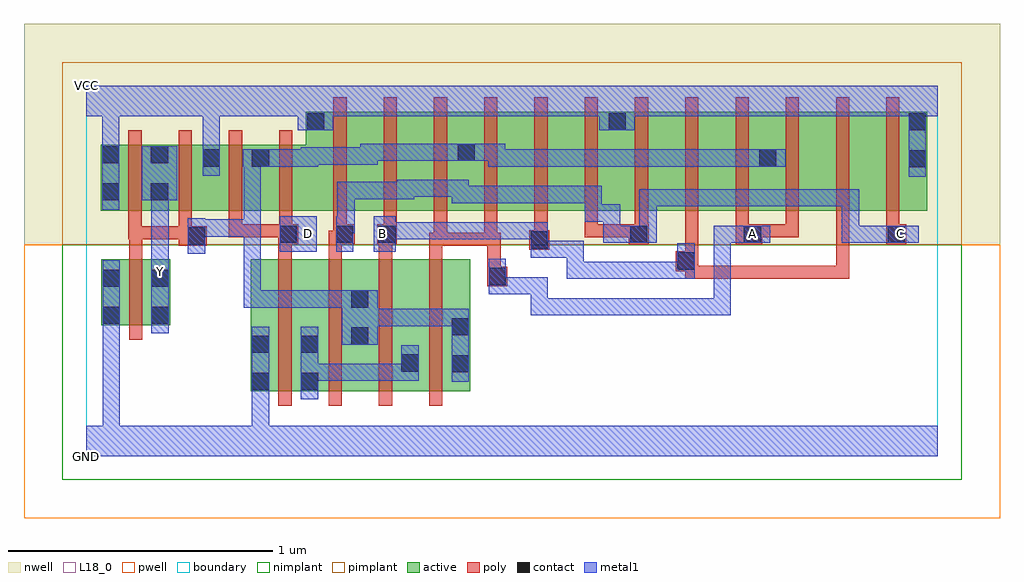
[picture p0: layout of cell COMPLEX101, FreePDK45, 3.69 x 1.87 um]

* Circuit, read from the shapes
.subckt COMPLEX101 A B C D GND VCC Y
M1 Y n1 GND VSUBS nfet w=0.25u l=0.05u
M2 n2 D GND VSUBS nfet w=0.5u l=0.05u
M3 n1 C n2 VSUBS nfet w=0.5u l=0.05u
M4 n2 B n1 VSUBS nfet w=0.5u l=0.05u
M5 n1 A n2 VSUBS nfet w=0.5u l=0.05u
M6 Y n1 VCC n3 pfet w=0.25u l=0.05u m=2
M7 n1 D VCC n3 pfet w=0.25u l=0.05u m=2
M8 n4 C VCC n3 pfet w=0.375u l=0.05u
M9 n5 B n4 n3 pfet w=0.375u l=0.05u
M10 n1 A n5 n3 pfet w=0.375u l=0.05u
M11 n6 A n1 n3 pfet w=0.375u l=0.05u
M12 n7 B n6 n3 pfet w=0.375u l=0.05u
M13 VCC C n7 n3 pfet w=0.375u l=0.05u
M14 n8 C VCC n3 pfet w=0.375u l=0.05u
M15 n9 B n8 n3 pfet w=0.375u l=0.05u
M16 n1 A n9 n3 pfet w=0.375u l=0.05u
M17 n10 A n1 n3 pfet w=0.375u l=0.05u
M18 n11 B n10 n3 pfet w=0.375u l=0.05u
M19 VCC C n11 n3 pfet w=0.375u l=0.05u
.ends

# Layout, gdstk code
import gdstk
lib = gdstk.Library(unit=1e-6, precision=1e-09)
def R(c, l, rs):  # rectangles x0, y0, x1, y1
    for r in rs: c.add(gdstk.rectangle(r[:2], r[2:], *l))
def A(c, l, x, y, w, h, nx, ny, dx, dy):  # array of equal rectangles
    R(c, l, [(x+i*dx, y+j*dy, x+i*dx+w, y+j*dy+h) for i in range(nx) for j in range(ny)])
active = (1, 0)
pwell = (2, 0)
nwell = (3, 0)
nimplant = (4, 0)
pimplant = (5, 0)
poly = (9, 0)
contact = (10, 0)
metal1 = (11, 0)
L18_0 = (18, 0)
boundary = (235, 0)

complex101 = lib.new_cell('COMPLEX101')
A(complex101, active, 0.807, 0.245, 0.265, 0.5, 3, 1, 0.19, 0)
A(complex101, active, 0.83, 0.927, 0.225, 0.375, 4, 1, 0.57, 0)
A(complex101, active, 1.055, 0.927, 0.19, 0.375, 4, 1, 0.57, 0)
A(complex101, active, 1.245, 0.927, 0.23, 0.375, 3, 1, 0.57, 0)
R(complex101, active, [(0.622,0.245,0.697,0.745), (0.622,0.245,0.882,0.745), (0.807,0.245,0.882,0.592), (0.997,0.245,1.072,0.632), (1.187,0.245,1.262,0.592), (1.377,0.245,1.452,0.745), (0.057,0.495,0.132,0.745), (0.057,0.495,0.317,0.745), (0.242,0.495,0.317,0.745), (0.055,0.927,0.13,1.177), (0.055,0.927,0.315,1.177), (0.24,0.927,0.51,1.177), (0.435,0.927,0.697,1.177), (0.622,0.927,0.697,1.177), (0.622,0.927,0.905,1.177), (2.955,0.927,3.18,1.302), (3.105,0.927,3.18,1.302), (0.435,0.932,0.51,1.177), (1.4,0.932,1.475,1.2), (1.97,0.932,2.045,1.302), (2.54,0.932,2.615,1.2), (0.24,0.962,0.315,1.177), (0.83,1.057,0.905,1.302)])
R(complex101, pwell, [(-0.235,-0.235,3.455,0.8)])
R(complex101, nwell, [(-0.235,0.8,3.455,1.635)])
R(complex101, nimplant, [(-0.09,-0.09,3.31,0.8)])
R(complex101, pimplant, [(-0.09,0.8,3.31,1.49)])
A(complex101, poly, 0.727, 0.19, 0.05, 0.61, 4, 1, 0.19, 0)
A(complex101, poly, 0.727, 0.75, 0.05, 0.102, 3, 1, 0.19, 0)
A(complex101, poly, 0.16, 0.872, 0.05, 0.36, 4, 1, 0.19, 0)
A(complex101, poly, 0.935, 0.872, 0.05, 0.485, 12, 1, 0.19, 0)
R(complex101, poly, [(0.162,0.44,0.212,0.8), (1.517,0.642,1.592,0.717), (1.517,0.667,1.567,0.845), (2.265,0.67,2.447,0.72), (2.265,0.67,2.315,0.75), (2.397,0.67,2.447,0.72), (2.397,0.67,2.447,0.72), (2.397,0.67,2.447,0.72), (2.397,0.67,2.752,0.72), (2.702,0.67,2.752,0.72), (2.702,0.67,2.752,0.72), (2.702,0.67,2.752,0.72), (2.702,0.67,2.885,0.72), (2.835,0.67,2.885,0.922), (2.835,0.67,2.885,0.72), (2.835,0.67,2.885,0.72), (2.835,0.67,2.885,0.72), (2.23,0.7,2.315,0.775), (2.265,0.7,2.315,0.75), (2.265,0.725,2.315,0.775), (2.265,0.725,2.315,0.775), (2.265,0.725,2.315,0.922), (0.162,0.75,0.212,0.87), (1.297,0.75,1.347,0.845), (1.675,0.78,1.75,0.855), (0.35,0.795,0.455,0.87), (1.297,0.795,1.365,0.845), (1.315,0.795,1.365,0.845), (1.315,0.795,1.365,0.845), (1.315,0.795,1.365,0.845), (1.315,0.795,1.365,0.845), (1.315,0.795,1.365,0.922), (1.315,0.795,1.555,0.845), (1.505,0.795,1.555,0.845), (1.505,0.795,1.555,0.845), (1.505,0.795,1.555,0.845), (1.505,0.795,1.555,0.845), (1.505,0.795,1.555,0.922), (1.505,0.795,1.567,0.845), (0.727,0.802,0.802,0.877), (0.917,0.802,0.985,0.852), (0.935,0.802,0.985,0.852), (0.935,0.802,1.015,0.877), (1.1,0.802,1.175,0.877), (2.052,0.802,2.127,0.877), (2.455,0.802,2.557,0.877), (3.025,0.802,3.1,0.877), (1.695,0.805,1.745,0.855), (1.695,0.805,1.745,0.855), (1.695,0.805,1.745,0.922), (0.16,0.82,0.21,0.922), (0.16,0.82,0.212,0.87), (0.162,0.82,0.212,0.87), (0.162,0.82,0.212,0.87), (0.162,0.82,0.4,0.87), (0.35,0.82,0.4,0.87), (0.35,0.82,0.4,0.87), (0.35,0.82,0.4,0.922), (0.54,0.827,0.59,0.922), (0.54,0.827,0.59,0.877), (0.54,0.827,0.78,0.877), (0.73,0.827,0.78,0.922), (0.73,0.827,0.78,0.877), (0.73,0.827,0.78,0.877), (0.73,0.827,0.78,0.877), (0.73,0.827,0.78,0.877), (0.935,0.827,0.985,0.922), (1.125,0.827,1.175,0.922), (1.125,0.827,1.175,0.877), (1.125,0.827,1.175,0.877), (1.885,0.827,1.935,0.922), (1.885,0.827,1.935,0.877), (1.885,0.827,2.102,0.877), (2.052,0.827,2.102,0.877), (2.052,0.827,2.102,0.877), (2.075,0.827,2.125,0.922), (2.455,0.827,2.505,0.922), (2.507,0.827,2.557,0.877), (2.507,0.827,2.557,0.877), (2.507,0.827,2.695,0.877), (2.645,0.827,2.695,0.922), (2.645,0.827,2.695,0.877), (3.025,0.827,3.075,0.922)])
R(complex101, contact, [(0.627,0.25,0.692,0.315), (0.812,0.25,0.877,0.315), (1.382,0.317,1.447,0.382), (1.192,0.32,1.257,0.385), (0.627,0.39,0.692,0.455), (0.812,0.39,0.877,0.455), (1.002,0.422,1.067,0.487), (1.382,0.457,1.447,0.522), (0.062,0.5,0.127,0.565), (0.247,0.5,0.312,0.565), (1.002,0.562,1.067,0.627), (0.062,0.64,0.127,0.705), (0.247,0.64,0.312,0.705), (1.522,0.647,1.587,0.712), (2.235,0.705,2.3,0.77), (1.68,0.785,1.745,0.85), (0.385,0.8,0.45,0.865), (0.732,0.807,0.797,0.872), (0.945,0.807,1.01,0.872), (1.105,0.807,1.17,0.872), (2.057,0.807,2.122,0.872), (2.487,0.807,2.552,0.872), (3.03,0.807,3.095,0.872), (0.06,0.967,0.125,1.032), (0.245,0.967,0.31,1.032), (3.11,1.092,3.175,1.157), (0.44,1.095,0.505,1.16), (0.627,1.095,0.692,1.16), (2.545,1.095,2.61,1.16), (0.06,1.107,0.125,1.172), (0.245,1.107,0.31,1.172), (1.405,1.117,1.47,1.182), (0.835,1.232,0.9,1.297), (1.975,1.232,2.04,1.297), (3.11,1.232,3.175,1.297)])
R(complex101, metal1, [(0,0,3.22,0.115), (0.062,0.05,0.127,0.115), (0.062,0.05,0.127,0.115), (0.062,0.05,0.127,0.53), (0.627,0.05,0.692,0.115), (0.627,0.05,0.692,0.115), (0.627,0.05,0.692,0.28), (0.627,0.215,0.692,0.49), (0.812,0.215,0.877,0.49), (1.382,0.282,1.447,0.557), (0.812,0.285,1.015,0.35), (0.812,0.285,0.877,0.35), (0.812,0.285,0.877,0.35), (0.95,0.285,1.015,0.35), (0.95,0.285,1.257,0.35), (1.192,0.285,1.257,0.35), (1.192,0.285,1.257,0.35), (1.192,0.285,1.257,0.42), (0.967,0.422,1.102,0.627), (0.062,0.465,0.127,0.74), (0.062,0.465,0.127,0.53), (0.062,0.465,0.127,0.53), (0.062,0.465,0.127,0.53), (0.062,0.465,0.127,0.53), (0.247,0.465,0.312,0.74), (1.037,0.492,1.24,0.557), (1.175,0.492,1.24,0.557), (1.175,0.492,1.24,0.557), (1.175,0.492,1.24,0.557), (1.175,0.492,1.447,0.557), (1.382,0.492,1.447,0.557), (1.382,0.492,1.447,0.557), (1.68,0.532,1.812,0.597), (1.68,0.532,1.745,0.677), (1.747,0.532,1.95,0.597), (1.747,0.532,1.812,0.597), (1.885,0.532,1.95,0.597), (1.885,0.532,1.95,0.597), (1.885,0.532,1.95,0.597), (1.885,0.532,2.162,0.597), (2.097,0.532,2.3,0.597), (2.097,0.532,2.162,0.597), (2.097,0.532,2.162,0.597), (2.097,0.532,2.162,0.597), (2.235,0.532,2.3,0.597), (2.235,0.532,2.437,0.597), (2.372,0.532,2.437,0.597), (2.372,0.532,2.437,0.597), (2.372,0.532,2.437,0.597), (2.372,0.532,2.437,0.872), (0.595,0.562,0.66,0.627), (0.595,0.562,0.727,0.627), (0.595,0.562,0.66,0.895), (0.662,0.562,0.727,0.627), (0.662,0.562,0.877,0.627), (0.812,0.562,0.877,0.627), (0.812,0.562,0.877,0.627), (0.812,0.562,0.877,0.627), (0.812,0.562,1.032,0.627), (1.522,0.612,1.587,0.747), (1.522,0.612,1.675,0.677), (1.61,0.612,1.675,0.677), (1.61,0.612,1.675,0.677), (1.61,0.612,1.675,0.677), (1.61,0.612,1.745,0.677), (0.247,0.632,0.312,0.767), (1.817,0.67,2.02,0.735), (1.817,0.67,1.882,0.815), (1.955,0.67,2.02,0.735), (1.955,0.67,2.157,0.735), (2.092,0.67,2.157,0.735), (2.092,0.67,2.157,0.735), (2.092,0.67,2.157,0.735), (2.092,0.67,2.3,0.735), (2.235,0.67,2.3,0.805), (0.247,0.675,0.312,0.74), (0.247,0.702,0.312,1.032), (1.68,0.75,1.745,0.885), (1.68,0.75,1.812,0.815), (1.747,0.75,1.812,0.815), (1.747,0.75,1.882,0.815), (0.385,0.765,0.45,0.9), (0.732,0.772,0.872,0.907), (0.945,0.772,1.01,0.907), (1.087,0.772,1.17,0.907), (1.955,0.807,2.087,0.872), (1.955,0.807,2.02,0.952), (2.022,0.807,2.157,0.872), (2.092,0.807,2.157,1.01), (2.092,0.807,2.157,0.872), (2.092,0.807,2.157,0.872), (2.372,0.807,2.437,0.872), (2.372,0.807,2.517,0.872), (2.452,0.807,2.587,0.872), (2.857,0.807,3.06,0.872), (2.857,0.807,2.922,1.01), (2.857,0.807,2.922,0.872), (2.995,0.807,3.147,0.872), (1.105,0.82,1.24,0.885), (1.175,0.82,1.24,0.885), (1.175,0.82,1.447,0.885), (1.382,0.82,1.585,0.885), (1.382,0.82,1.447,0.885), (1.382,0.82,1.447,0.885), (1.382,0.82,1.447,0.885), (1.52,0.82,1.585,0.885), (1.52,0.82,1.675,0.885), (1.61,0.82,1.675,0.885), (1.61,0.82,1.745,0.885), (0.385,0.83,0.45,0.895), (0.385,0.83,0.45,0.895), (0.385,0.83,0.59,0.895), (0.525,0.83,0.59,0.895), (0.525,0.83,0.66,0.895), (0.595,0.83,0.66,0.895), (0.595,0.83,0.66,0.895), (0.595,0.83,0.66,0.895), (0.595,0.83,0.66,1.16), (0.945,0.842,1.015,0.907), (0.95,0.842,1.015,1.037), (1.885,0.887,2.02,0.952), (1.885,0.887,1.95,1.022), (0.06,0.932,0.125,1.207), (2.092,0.945,2.157,1.01), (2.092,0.945,2.38,1.01), (2.315,0.945,2.38,1.01), (2.315,0.945,2.38,1.01), (2.315,0.945,2.38,1.01), (2.315,0.945,2.575,1.01), (2.51,0.945,2.575,1.01), (2.51,0.945,2.575,1.01), (2.51,0.945,2.575,1.01), (2.51,0.945,2.725,1.01), (2.66,0.945,2.725,1.01), (2.66,0.945,2.725,1.01), (2.66,0.945,2.725,1.01), (2.66,0.945,2.922,1.01), (2.857,0.945,2.922,1.01), (2.857,0.945,2.922,1.01), (2.857,0.945,2.922,1.01), (1.382,0.957,1.585,1.022), (1.382,0.957,1.447,1.022), (1.382,0.957,1.447,1.022), (1.382,0.957,1.447,1.045), (1.52,0.957,1.585,1.022), (1.52,0.957,1.675,1.022), (1.61,0.957,1.675,1.022), (1.61,0.957,1.745,1.022), (1.68,0.957,1.745,1.022), (1.68,0.957,1.812,1.022), (1.747,0.957,1.95,1.022), (1.747,0.957,1.812,1.022), (0.21,0.967,0.345,1.172), (0.247,0.967,0.312,1.032), (0.247,0.967,0.312,1.032), (0.95,0.972,1.24,1.037), (1.175,0.972,1.24,1.045), (1.175,0.98,1.24,1.045), (1.175,0.98,1.24,1.045), (1.175,0.98,1.447,1.045), (3.11,1.057,3.175,1.332), (0.44,1.06,0.505,1.195), (0.592,1.095,0.727,1.16), (0.662,1.095,0.727,1.16), (0.662,1.095,0.727,1.16), (0.662,1.095,0.877,1.16), (0.812,1.095,0.877,1.16), (0.812,1.095,0.877,1.16), (0.812,1.095,0.877,1.167), (1.52,1.095,1.675,1.16), (1.52,1.095,1.585,1.182), (1.61,1.095,1.675,1.16), (1.61,1.095,1.745,1.16), (1.68,1.095,1.745,1.16), (1.68,1.095,1.812,1.16), (1.747,1.095,1.95,1.16), (1.747,1.095,1.812,1.16), (1.885,1.095,1.95,1.16), (1.885,1.095,1.95,1.16), (1.885,1.095,1.95,1.16), (1.885,1.095,1.95,1.16), (1.885,1.095,1.95,1.16), (1.885,1.095,2.157,1.16), (2.092,1.095,2.157,1.16), (2.092,1.095,2.157,1.16), (2.092,1.095,2.157,1.16), (2.092,1.095,2.38,1.16), (2.315,1.095,2.38,1.16), (2.315,1.095,2.38,1.16), (2.315,1.095,2.38,1.16), (2.315,1.095,2.575,1.16), (2.51,1.095,2.575,1.16), (2.51,1.095,2.575,1.16), (2.51,1.095,2.645,1.16), (0.812,1.102,1.102,1.167), (1.037,1.102,1.102,1.182), (1.037,1.117,1.24,1.182), (1.175,1.117,1.24,1.182), (1.175,1.117,1.24,1.182), (1.175,1.117,1.24,1.182), (1.175,1.117,1.435,1.182), (1.37,1.117,1.435,1.182), (1.37,1.117,1.435,1.182), (1.37,1.117,1.505,1.182), (1.44,1.117,1.585,1.182), (0.44,1.13,0.505,1.195), (0.44,1.13,0.505,1.195), (0.44,1.13,0.505,1.35), (0.06,1.142,0.125,1.207), (0.06,1.142,0.125,1.207), (0.06,1.142,0.125,1.35), (0.8,1.232,0.935,1.297), (0.87,1.232,0.935,1.35), (1.94,1.232,2.075,1.297), (2.01,1.232,2.075,1.35), (3.11,1.267,3.175,1.35), (0,1.285,3.22,1.4)])
R(complex101, L18_0, [(0,0,3.22,0.115), (0.062,0.05,0.127,0.115), (0.062,0.05,0.127,0.115), (0.062,0.05,0.127,0.53), (0.627,0.05,0.692,0.115), (0.627,0.05,0.692,0.115), (0.627,0.05,0.692,0.28), (0.627,0.215,0.692,0.49), (0.062,0.465,0.127,0.53), (0.062,0.465,0.127,0.53), (0.062,0.465,0.127,0.53), (0.062,0.465,0.127,0.53), (0.062,0.465,0.127,0.74), (0.247,0.465,0.312,0.74), (1.68,0.532,1.745,0.677), (1.68,0.532,1.812,0.597), (1.747,0.532,1.812,0.597), (1.747,0.532,1.95,0.597), (1.885,0.532,1.95,0.597), (1.885,0.532,1.95,0.597), (1.885,0.532,1.95,0.597), (1.885,0.532,2.162,0.597), (2.097,0.532,2.162,0.597), (2.097,0.532,2.162,0.597), (2.097,0.532,2.162,0.597), (2.097,0.532,2.3,0.597), (2.235,0.532,2.3,0.597), (2.235,0.532,2.437,0.597), (2.372,0.532,2.437,0.597), (2.372,0.532,2.437,0.597), (2.372,0.532,2.437,0.597), (2.372,0.532,2.437,0.872), (1.522,0.612,1.587,0.747), (1.522,0.612,1.675,0.677), (1.61,0.612,1.675,0.677), (1.61,0.612,1.675,0.677), (1.61,0.612,1.675,0.677), (1.61,0.612,1.745,0.677), (0.247,0.632,0.312,0.767), (0.247,0.667,0.312,0.732), (1.817,0.67,2.02,0.735), (1.817,0.67,1.882,0.815), (1.955,0.67,2.02,0.735), (1.955,0.67,2.157,0.735), (2.092,0.67,2.157,0.735), (2.092,0.67,2.157,0.735), (2.092,0.67,2.157,0.735), (2.092,0.67,2.3,0.735), (2.235,0.67,2.3,0.805), (0.247,0.675,0.312,0.74), (0.247,0.702,0.312,1.032), (1.68,0.75,1.745,0.885), (1.68,0.75,1.812,0.815), (1.747,0.75,1.812,0.815), (1.747,0.75,1.882,0.815), (0.732,0.772,0.872,0.907), (0.945,0.772,1.01,0.907), (1.087,0.772,1.17,0.907), (0.807,0.807,0.872,0.872), (1.087,0.807,1.152,0.872), (1.955,0.807,2.02,0.952), (1.955,0.807,2.087,0.872), (2.022,0.807,2.157,0.872), (2.092,0.807,2.157,0.872), (2.092,0.807,2.157,0.872), (2.092,0.807,2.157,1.01), (2.372,0.807,2.437,0.872), (2.372,0.807,2.517,0.872), (2.452,0.807,2.587,0.872), (2.487,0.807,2.552,0.872), (2.857,0.807,2.922,0.872), (2.857,0.807,3.06,0.872), (2.857,0.807,2.922,1.01), (2.995,0.807,3.147,0.872), (3.047,0.807,3.112,0.872), (1.105,0.82,1.24,0.885), (1.175,0.82,1.24,0.885), (1.175,0.82,1.447,0.885), (1.382,0.82,1.447,0.885), (1.382,0.82,1.447,0.885), (1.382,0.82,1.447,0.885), (1.382,0.82,1.585,0.885), (1.52,0.82,1.585,0.885), (1.52,0.82,1.675,0.885), (1.61,0.82,1.675,0.885), (1.61,0.82,1.745,0.885), (0.945,0.842,1.015,0.907), (0.95,0.842,1.015,1.037), (1.885,0.887,1.95,1.022), (1.885,0.887,2.02,0.952), (0.06,0.932,0.125,1.207), (2.092,0.945,2.157,1.01), (2.092,0.945,2.38,1.01), (2.315,0.945,2.38,1.01), (2.315,0.945,2.38,1.01), (2.315,0.945,2.38,1.01), (2.315,0.945,2.575,1.01), (2.51,0.945,2.575,1.01), (2.51,0.945,2.575,1.01), (2.51,0.945,2.575,1.01), (2.51,0.945,2.725,1.01), (2.66,0.945,2.725,1.01), (2.66,0.945,2.725,1.01), (2.66,0.945,2.725,1.01), (2.66,0.945,2.922,1.01), (2.857,0.945,2.922,1.01), (2.857,0.945,2.922,1.01), (2.857,0.945,2.922,1.01), (1.382,0.957,1.447,1.022), (1.382,0.957,1.447,1.022), (1.382,0.957,1.447,1.045), (1.382,0.957,1.585,1.022), (1.52,0.957,1.585,1.022), (1.52,0.957,1.675,1.022), (1.61,0.957,1.675,1.022), (1.61,0.957,1.745,1.022), (1.68,0.957,1.745,1.022), (1.68,0.957,1.812,1.022), (1.747,0.957,1.812,1.022), (1.747,0.957,1.95,1.022), (0.21,0.967,0.345,1.172), (0.247,0.967,0.312,1.032), (0.247,0.967,0.312,1.032), (0.95,0.972,1.24,1.037), (1.175,0.972,1.24,1.045), (1.175,0.98,1.24,1.045), (1.175,0.98,1.24,1.045), (1.175,0.98,1.447,1.045), (3.11,1.057,3.175,1.332), (0.44,1.06,0.505,1.195), (0.44,1.13,0.505,1.195), (0.44,1.13,0.505,1.195), (0.44,1.13,0.505,1.35), (0.06,1.142,0.125,1.207), (0.06,1.142,0.125,1.207), (0.06,1.142,0.125,1.35), (0.8,1.232,0.935,1.297), (0.87,1.232,0.935,1.35), (1.94,1.232,2.075,1.297), (2.01,1.232,2.075,1.35), (3.11,1.267,3.175,1.35), (0,1.285,3.22,1.4)])
R(complex101, boundary, [(0,0,3.22,1.4)])
complex101.add(gdstk.Label('A', (2.52,0.84), layer=11, texttype=0))
complex101.add(gdstk.Label('B', (1.12,0.84), layer=11, texttype=0))
complex101.add(gdstk.Label('C', (3.08,0.84), layer=11, texttype=0))
complex101.add(gdstk.Label('D', (0.84,0.84), layer=11, texttype=0))
complex101.add(gdstk.Label('Y', (0.28,0.7), layer=11, texttype=0))
complex101.add(gdstk.Label('VCC', (0,1.4), layer=11, texttype=0))
complex101.add(gdstk.Label('GND', (0,0), layer=11, texttype=0))

lib.write_gds('COMPLEX101.gds')
